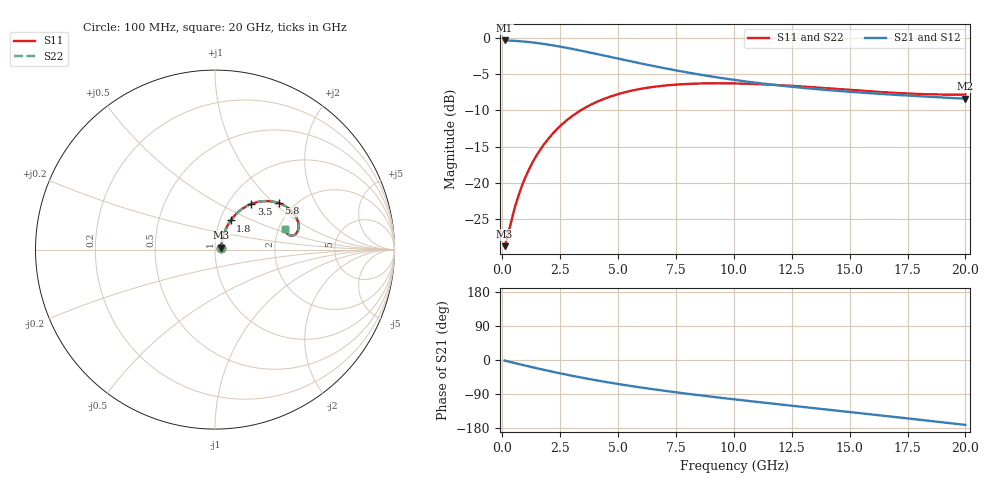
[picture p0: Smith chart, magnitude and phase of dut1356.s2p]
! Touchstone file exported from HFSS 2024.1.0
!  File:  C:/UserFiles/LocalFiles/RDL_TSV_Batchsim/temp_RDL_TSV_1356_1780395433.aedt
!  Generated:  06:33:00 PM Jun  2, 2026
!  Design:  RDL_TSV
!  Project:  temp_RDL_TSV_1356_1780395433
!  Setup:  Setup1
!  Solution:  Sweep
! Variables:
!  dtsv = 6.09um
!  hbump = 3um
!  htsv = 58.77um
!  ldown = 280.57um
!  lrdl = 411.13um
!  p = 40
!  p1 = 56.2um
!  rhole = 10um
!  subl = 2486.23um
!  t = 450um
!  tdown = 2.69um
!  trdl = 2.04um
!  viad = 10um
!  wdown = 15.57um
!  wrdl = 10.15um
!  xbump = 18um
# GHz S MA R 50.000000
! Terminal data exported
! Port[1] = TM1_1_T1
! Port[2] = TM1_4_T1
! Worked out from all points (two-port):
!   200 points, 100 MHz to 20 GHz, reference 50 ohm
!   highest |S21| = -0.31 dB at 100 MHz (marker M1); lowest = -8.4 dB at 20 GHz (marker M2)
!   |S21| within 3 dB of the highest: start of sweep to 5.711 GHz
!   lowest |S11| = -28.8 dB at 100 MHz (marker M3), VSWR 1.08, Z = 53.6 + j1.09 ohm
!   |S11| at or under -10 dB: start of sweep to 3.379 GHz
!   |S22| runs from -28.8 to -6.2 dB; largest |S21 - S12| = 1.1e-14
!   S11 on the Smith chart (normalised r, x): 100 MHz: 1.07, +0.02; 1.8 GHz: 1.12, +0.38; 3.5 GHz: 1.28, +0.73; 5.8 GHz: 1.68, +1.08; 20 GHz: 2.18, +0.60
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0.1  0.03636 16.1  0.9651 -1.5  0.9651 -1.5  0.03636 16.1
! Gamma 0 0 0 0
! Port Impedance 50 0 50 0
0.2  0.04091 29.5  0.9644 -3.0  0.9644 -3.0  0.04091 29.5
0.6  0.07244 54.6  0.9577 -9.0  0.9577 -9.0  0.07244 54.6
0.9  0.09999 60.1  0.9496 -13.4  0.9496 -13.4  0.09998 60.1
1.3  0.1375 62.3  0.9353 -19.1  0.9353 -19.1  0.1375 62.3
1.8  0.1841 61.7  0.9127 -26.0  0.9127 -26.0  0.1841 61.8
2.2  0.2204 60.0  0.8917 -31.4  0.8917 -31.4  0.2204 60.0
2.6  0.2551 57.7  0.8689 -36.5  0.8689 -36.5  0.2551 57.7
3  0.2877 55.0  0.8449 -41.5  0.8449 -41.5  0.2877 55.1
3.5  0.3249 51.5  0.8139 -47.4  0.8139 -47.4  0.3249 51.5
4  0.3578 47.9  0.7828 -53.0  0.7828 -53.0  0.3578 47.9
4.6  0.3914 43.7  0.7462 -59.3  0.7462 -59.3  0.3915 43.7
5.8  0.4407 35.9  0.6785 -70.9  0.6785 -70.9  0.4408 35.9
6.8  0.4662 30.3  0.6293 -79.6  0.6293 -79.6  0.4664 30.3
8.3  0.4849 23.3  0.5682 -91.4  0.5682 -91.4  0.4853 23.4
10.1  0.4864 17.2  0.5126 -104.4  0.5126 -104.4  0.4869 17.2
11.7  0.476 13.4  0.476 -115.3  0.476 -115.3  0.4765 13.4
13.4  0.4581 11.0  0.4468 -126.6  0.4468 -126.6  0.4588 11.0
15.1  0.4379 10.2  0.4246 -137.9  0.4246 -137.9  0.4387 10.2
16.7  0.4209 11.0  0.4082 -148.6  0.4082 -148.6  0.4217 11.0
18.4  0.4092 13.3  0.3936 -160.2  0.3936 -160.2  0.41 13.3
20  0.4077 16.2  0.3812 -171.3  0.3812 -171.3  0.4085 16.2
